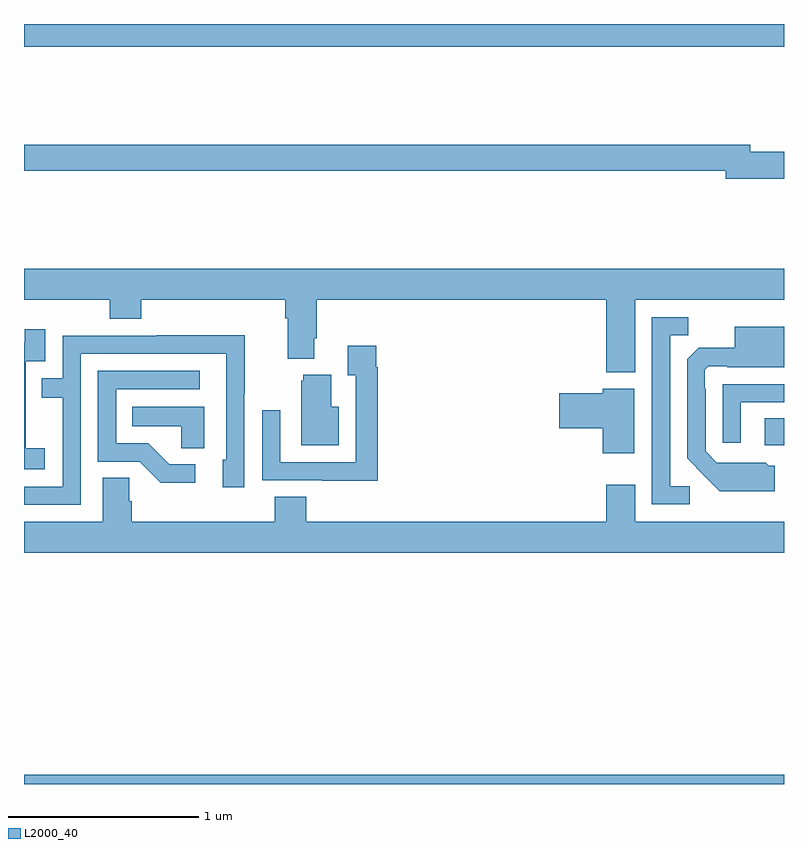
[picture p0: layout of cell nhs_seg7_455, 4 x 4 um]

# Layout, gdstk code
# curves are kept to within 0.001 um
import gdstk
lib = gdstk.Library(unit=1e-6, precision=1e-09)
def R(c, l, rs):  # rectangles x0, y0, x1, y1
    for r in rs: c.add(gdstk.rectangle(r[:2], r[2:], *l))
def P(c, l, *ps):  # polygons
    for p in ps: c.add(gdstk.Polygon(p, *l))
L2000_40 = (2000, 40)

nhs_seg7_455 = lib.new_cell('nhs_seg7_455')
R(nhs_seg7_455, L2000_40, [(145,1066,149,1066.048), (148.899,1067.784,149,1067.924), (145,1069.88,149,1070)])
P(nhs_seg7_455, L2000_40, [(149,1069.328),(148.822,1069.328),(148.822,1069.364),(145,1069.364),(145,1069.228),(148.694,1069.228),(148.694,1069.186),(149,1069.186)],
  [(148.216,1068.548),(149,1068.548),(149,1068.712),(145,1068.712),(145,1068.548),(145.451,1068.548),(145.451,1068.449),(145.616,1068.449),(145.616,1068.548),(146.375,1068.548),(146.375,1068.452),(146.387,1068.452),(146.387,1068.239),(146.527,1068.239),(146.527,1068.346),(146.54,1068.346),(146.54,1068.548),(148.064,1068.548),(148.064,1068.168),(148.216,1068.168)],
  [(148.504,1067.568),(148.401,1067.568),(148.401,1068.361),(148.497,1068.361),(148.497,1068.456),(148.305,1068.456),(148.305,1067.472),(148.504,1067.472)],
  [(148.951,1067.676),(148.92,1067.676),(148.904,1067.692),(148.647,1067.691),(148.587,1067.751),(148.587,1068.08),(148.584,1068.08),(148.584,1068.18),(148.602,1068.198),(148.702,1068.198),(148.702,1068.194),(149,1068.194),(149,1068.406),(148.742,1068.406),(148.742,1068.295),(148.55,1068.295),(148.491,1068.236),(148.491,1067.714),(148.663,1067.54),(148.951,1067.54)],
  [(145.108,1067.767),(145.01,1067.767),(145.01,1067.996),(145.008,1067.996),(145.008,1068.225),(145.113,1068.225),(145.113,1068.394),(145.005,1068.394),(145.005,1068.324),(145,1068.324),(145,1067.657),(145.108,1067.657)],
  [(145.299,1068.264),(146.064,1068.264),(146.064,1067.706),(146.045,1067.706),(146.045,1067.562),(146.16,1067.562),(146.16,1068.055),(146.163,1068.055),(146.163,1068.362),(145.699,1068.362),(145.699,1068.36),(145.203,1068.36),(145.203,1068.135),(145.093,1068.135),(145.093,1068.034),(145.203,1068.034),(145.203,1067.565),(145,1067.565),(145,1067.469),(145.299,1067.469)],
  [(146.861,1068.194),(146.854,1068.194),(146.854,1068.307),(146.705,1068.307),(146.705,1068.151),(146.745,1068.151),(146.745,1067.694),(146.349,1067.694),(146.349,1067.968),(146.253,1067.968),(146.253,1067.598),(146.569,1067.598),(146.569,1067.597),(146.861,1067.597)],
  [(145.9,1067.682),(145.765,1067.682),(145.654,1067.793),(145.485,1067.793),(145.485,1068.078),(145.924,1068.078),(145.924,1068.174),(145.389,1068.174),(145.389,1067.697),(145.608,1067.697),(145.721,1067.585),(145.9,1067.585)],
  [(146.656,1067.986),(146.617,1067.986),(146.617,1068.154),(146.471,1068.154),(146.471,1068.123),(146.459,1068.123),(146.459,1067.783),(146.656,1067.783)],
  [(148.773,1068.009),(149,1068.009),(149,1068.105),(148.677,1068.105),(148.677,1067.796),(148.773,1067.796)],
  [(148.213,1068.079),(148.046,1068.079),(148.046,1068.056),(147.816,1068.056),(147.816,1067.873),(148.046,1067.873),(148.046,1067.742),(148.213,1067.742)],
  [(145.948,1067.986),(145.57,1067.986),(145.57,1067.882),(145.827,1067.882),(145.827,1067.767),(145.948,1067.767)],
  [(149,1067.38),(148.216,1067.38),(148.216,1067.575),(148.064,1067.575),(148.064,1067.38),(146.486,1067.38),(146.486,1067.513),(146.321,1067.513),(146.321,1067.38),(145.568,1067.38),(145.568,1067.489),(145.554,1067.489),(145.554,1067.612),(145.415,1067.612),(145.415,1067.38),(145,1067.38),(145,1067.216),(149,1067.216)])

lib.write_gds('nhs_seg7_455.gds')
